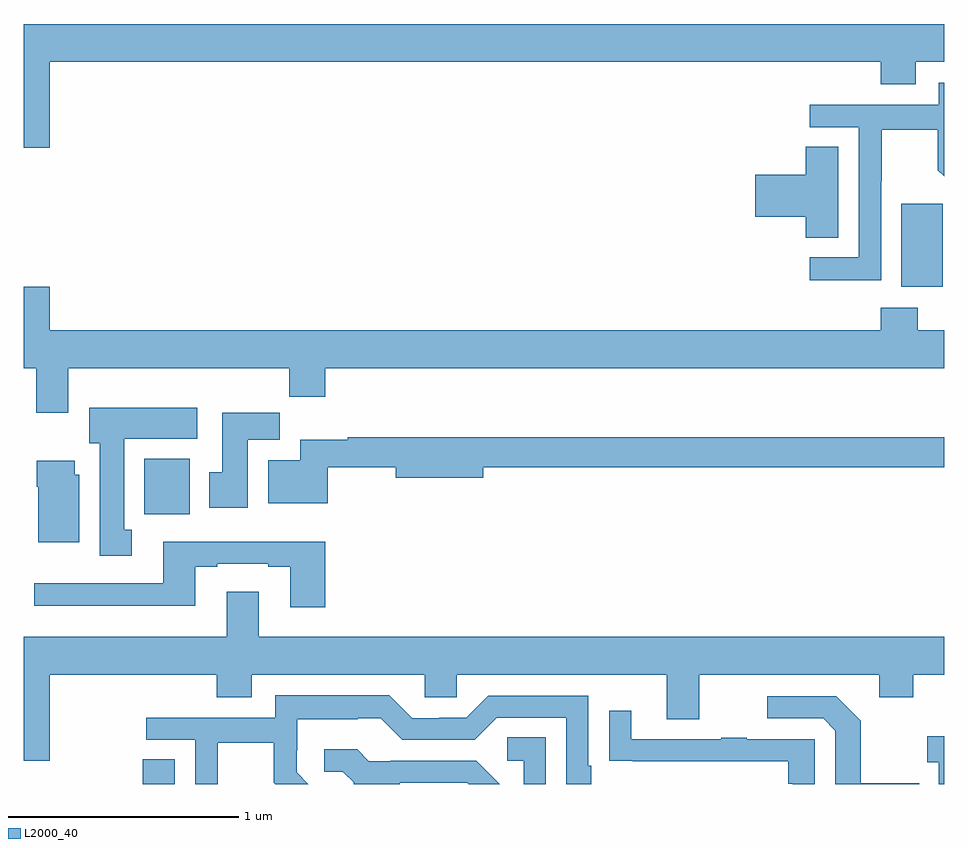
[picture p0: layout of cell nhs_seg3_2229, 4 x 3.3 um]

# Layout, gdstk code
import gdstk
lib = gdstk.Library(unit=1e-6, precision=1e-09)
def R(c, l, rs):  # rectangles x0, y0, x1, y1
    for r in rs: c.add(gdstk.rectangle(r[:2], r[2:], *l))
def P(c, l, *ps):  # polygons
    for p in ps: c.add(gdstk.Polygon(p, *l))
L2000_40 = (2000, 40)

nhs_seg3_2229 = lib.new_cell('nhs_seg3_2229')
R(nhs_seg3_2229, L2000_40, [(225.517,740.4,225.655,740.507), (225.524,741.572,225.721,741.814), (228.815,742.562,228.994,742.923)])
P(nhs_seg3_2229, L2000_40, [(225.112,743.54),(228.725,743.54),(228.725,743.441),(228.877,743.441),(228.877,743.54),(229,743.54),(229,743.704),(225,743.704),(225,743.166),(225.112,743.166)],
  [(228.726,743.02),(228.729,743.02),(228.729,743.244),(228.973,743.244),(228.973,743.069),(229,743.042),(229,743.449),(228.978,743.449),(228.978,743.352),(228.417,743.352),(228.417,743.256),(228.63,743.256),(228.63,742.689),(228.417,742.689),(228.417,742.591),(228.726,742.591)],
  [(228.541,743.171),(228.398,743.171),(228.398,743.048),(228.18,743.048),(228.18,742.865),(228.398,742.865),(228.398,742.774),(228.541,742.774)],
  [(225.193,742.208),(226.153,742.208),(226.153,742.084),(226.31,742.084),(226.31,742.208),(229,742.208),(229,742.372),(228.885,742.372),(228.885,742.471),(228.725,742.471),(228.725,742.372),(225.112,742.372),(225.112,742.561),(225,742.561),(225,742.208),(225.053,742.208),(225.053,742.014),(225.193,742.014)],
  [(225.469,741.506),(225.436,741.506),(225.436,741.902),(225.754,741.902),(225.754,742.036),(225.284,742.036),(225.284,741.882),(225.329,741.882),(225.329,741.393),(225.469,741.393)],
  [(225.973,741.896),(226.112,741.896),(226.112,742.015),(225.863,742.015),(225.863,741.756),(225.806,741.756),(225.806,741.6),(225.973,741.6)],
  [(226.32,741.778),(226.616,741.778),(226.616,741.731),(226.996,741.731),(226.996,741.778),(229,741.778),(229,741.907),(226.408,741.907),(226.408,741.896),(226.202,741.896),(226.202,741.808),(226.061,741.808),(226.061,741.62),(226.32,741.62)],
  [(225.241,741.744),(225.22,741.744),(225.22,741.805),(225.055,741.805),(225.055,741.692),(225.062,741.692),(225.062,741.452),(225.241,741.452)],
  [(226.31,741.454),(225.605,741.454),(225.605,741.273),(225.045,741.273),(225.045,741.176),(225.745,741.176),(225.745,741.345),(225.841,741.345),(225.841,741.357),(226.061,741.357),(226.061,741.345),(226.157,741.345),(226.157,741.168),(226.31,741.168)],
  [(225.112,740.876),(225.839,740.876),(225.839,740.777),(225.991,740.777),(225.991,740.876),(226.743,740.876),(226.743,740.778),(226.881,740.778),(226.881,740.876),(227.795,740.876),(227.795,740.682),(227.935,740.682),(227.935,740.876),(228.719,740.876),(228.719,740.777),(228.867,740.777),(228.867,740.876),(229,740.876),(229,741.04),(226.021,741.04),(226.021,741.235),(225.881,741.235),(225.881,741.04),(225,741.04),(225,740.502),(225.112,740.502)],
  [(225.843,740.58),(226.087,740.58),(226.087,740.405),(226.092,740.4),(226.236,740.4),(226.186,740.45),(226.186,740.547),(226.188,740.547),(226.188,740.681),(226.451,740.681),(226.451,740.685),(226.551,740.685),(226.644,740.592),(226.959,740.592),(227.055,740.688),(227.358,740.688),(227.358,740.4),(227.467,740.4),(227.467,740.479),(227.454,740.479),(227.454,740.784),(227.019,740.784),(226.923,740.688),(226.805,740.688),(226.805,740.685),(226.689,740.685),(226.589,740.785),(226.092,740.785),(226.092,740.688),(225.531,740.688),(225.531,740.592),(225.744,740.592),(225.744,740.4),(225.843,740.4)],
  [(228.893,740.403),(228.637,740.403),(228.637,740.675),(228.531,740.781),(228.231,740.781),(228.231,740.685),(228.474,740.685),(228.528,740.631),(228.528,740.4),(228.893,740.4)],
  [(228.438,740.595),(228.143,740.595),(228.143,740.6),(228.031,740.6),(228.031,740.595),(227.641,740.595),(227.641,740.719),(227.545,740.719),(227.545,740.5),(227.647,740.5),(227.647,740.499),(228.322,740.499),(228.322,740.402),(228.342,740.402),(228.342,740.4),(228.438,740.4)],
  [(229,740.608),(228.927,740.608),(228.927,740.495),(228.978,740.495),(228.978,740.4),(229,740.4)],
  [(227.268,740.603),(227.1,740.603),(227.1,740.502),(227.172,740.502),(227.172,740.4),(227.268,740.4)],
  [(226.633,740.406),(226.928,740.406),(226.934,740.4),(227.068,740.4),(226.966,740.502),(226.594,740.502),(226.594,740.499),(226.5,740.499),(226.448,740.551),(226.305,740.551),(226.305,740.454),(226.386,740.454),(226.433,740.407),(226.433,740.4),(226.633,740.4)])

lib.write_gds('nhs_seg3_2229.gds')
